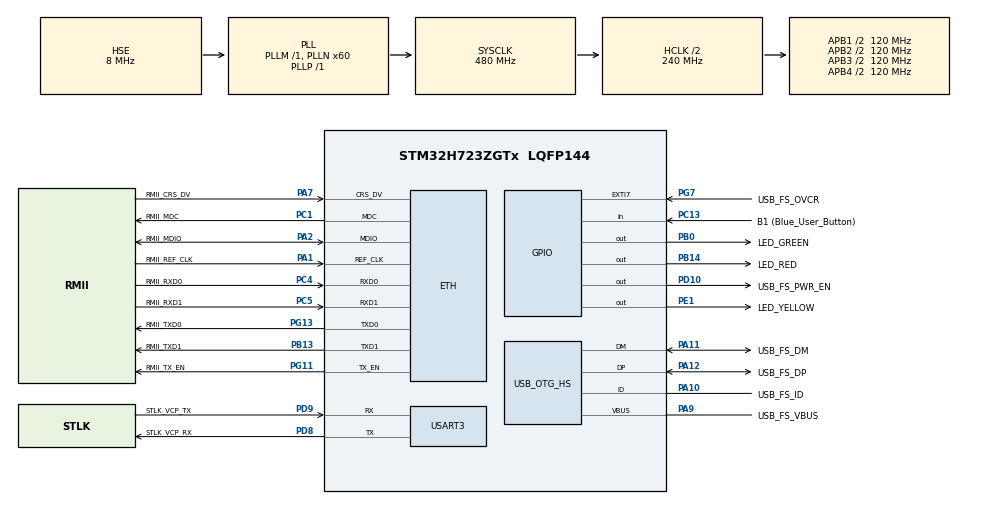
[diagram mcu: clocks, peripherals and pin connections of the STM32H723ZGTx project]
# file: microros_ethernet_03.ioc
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CORTEX_M7.AccessPermission_S-Cortex_Memory_Protection_Unit_Region1_Settings_S=MPU_REGION_FULL_ACCESS
CORTEX_M7.AccessPermission_S-Cortex_Memory_Protection_Unit_Region2_Settings_S=MPU_REGION_FULL_ACCESS
CORTEX_M7.BaseAddress_S-Cortex_Memory_Protection_Unit_Region1_Settings_S=0x30000000
CORTEX_M7.BaseAddress_S-Cortex_Memory_Protection_Unit_Region2_Settings_S=0x30000000
CORTEX_M7.CPU_DCache=Enabled
CORTEX_M7.CPU_ICache=Enabled
CORTEX_M7.DisableExec_S-Cortex_Memory_Protection_Unit_Region1_Settings_S=MPU_INSTRUCTION_ACCESS_DISABLE
CORTEX_M7.DisableExec_S-Cortex_Memory_Protection_Unit_Region2_Settings_S=MPU_INSTRUCTION_ACCESS_DISABLE
CORTEX_M7.Enable_S-Cortex_Memory_Protection_Unit_Region1_Settings_S=MPU_REGION_ENABLE
CORTEX_M7.Enable_S-Cortex_Memory_Protection_Unit_Region2_Settings_S=MPU_REGION_ENABLE
CORTEX_M7.IsBufferable_S-Cortex_Memory_Protection_Unit_Region2_Settings_S=MPU_ACCESS_BUFFERABLE
CORTEX_M7.IsShareable_S-Cortex_Memory_Protection_Unit_Region2_Settings_S=MPU_ACCESS_SHAREABLE
CORTEX_M7.Size_S-Cortex_Memory_Protection_Unit_Region1_Settings_S=MPU_REGION_SIZE_32KB
CORTEX_M7.Size_S-Cortex_Memory_Protection_Unit_Region2_Settings_S=MPU_REGION_SIZE_512B
CORTEX_M7.TypeExtField_S-Cortex_Memory_Protection_Unit_Region1_Settings_S=MPU_TEX_LEVEL1
CORTEX_M7.default_mode_Activation=1
ETH.MediaInterface=HAL_ETH_RMII_MODE
ETH.RxBuffLen=1536
ETH.RxBufferAddress=0x30000200
ETH.TxDescAddress=0x30000100
FREERTOS.Tasks01=defaultTask,24,4000,StartDefaultTask,Default,NULL,Static,defaultTaskBuffer,defaultTaskControlBlock
FREERTOS.configCHECK_FOR_STACK_OVERFLOW=1
FREERTOS.configMINIMAL_STACK_SIZE=512
FREERTOS.configTOTAL_HEAP_SIZE=96*1024
FREERTOS.configUSE_NEWLIB_REENTRANT=1
LWIP.API_LIB_DEBUG=LWIP_DBG_ON
LWIP.API_MSG_DEBUG=LWIP_DBG_ON
LWIP.AUTOIP_DEBUG=LWIP_DBG_ON
LWIP.BSP.number=1
LWIP.DEFAULT_THREAD_STACKSIZE=2048
LWIP.DHCP6_DEBUG=LWIP_DBG_ON
LWIP.DHCP_DEBUG=LWIP_DBG_ON
LWIP.DNS_DEBUG=LWIP_DBG_ON
LWIP.ETHARP_DEBUG=LWIP_DBG_ON
LWIP.HTTPD_DEBUG=LWIP_DBG_ON
LWIP.HTTPD_DEBUG_TIMING=LWIP_DBG_ON
LWIP.ICMP_DEBUG=LWIP_DBG_ON
LWIP.IGMP_DEBUG=LWIP_DBG_ON
LWIP.INET_DEBUG=LWIP_DBG_ON
LWIP.IP6_DEBUG=LWIP_DBG_ON
LWIP.IP_ADDRESS=192.168.001.010
LWIP.IP_DEBUG=LWIP_DBG_ON
LWIP.IP_REASS_DEBUG=LWIP_DBG_ON
LWIP.LWIP_DHCP=0
LWIP.LWIP_RAM_HEAP_POINTER=0x30000200
LWIP.LWIP_SO_SNDTIMEO=1
LWIP.LWIP_TESTMODE=0
LWIP.MDNS_DEBUG=LWIP_DBG_ON
LWIP.MEMP_DEBUG=LWIP_DBG_ON
LWIP.MEMP_NUM_UDP_PCB=15
LWIP.MEM_DEBUG=LWIP_DBG_ON
LWIP.MEM_SIZE=32232
LWIP.NETIF_DEBUG=LWIP_DBG_ON
LWIP.NETMASK_ADDRESS=255.255.255.000
LWIP.PBUF_DEBUG=LWIP_DBG_ON
LWIP.PPP_DEBUG=LWIP_DBG_ON
LWIP.RAW_DEBUG=LWIP_DBG_ON
LWIP.SLIP_DEBUG=LWIP_DBG_ON
LWIP.SMTP_DEBUG=LWIP_DBG_ON
LWIP.SNMP_DEBUG=LWIP_DBG_ON
LWIP.SNMP_MIB_DEBUG=LWIP_DBG_ON
LWIP.SNTP_DEBUG=LWIP_DBG_ON
LWIP.SOCKETS_DEBUG=LWIP_DBG_ON
LWIP.SYS_DEBUG=LWIP_DBG_ON
LWIP.TCPIP_DEBUG=LWIP_DBG_ON
LWIP.TCPIP_THREAD_STACKSIZE=2048
LWIP.TCP_CWND_DEBUG=LWIP_DBG_ON
LWIP.TCP_DEBUG=LWIP_DBG_ON
LWIP.TCP_FR_DEBUG=LWIP_DBG_ON
LWIP.TCP_INPUT_DEBUG=LWIP_DBG_ON
LWIP.TCP_MSS=1460
LWIP.TCP_OUTPUT_DEBUG=LWIP_DBG_ON
LWIP.TCP_QLEN_DEBUG=LWIP_DBG_ON
LWIP.TCP_RST_DEBUG=LWIP_DBG_ON
LWIP.TCP_RTO_DEBUG=LWIP_DBG_ON
LWIP.TCP_SND_BUF=5840
LWIP.TCP_SND_QUEUELEN=16
LWIP.TCP_WND_DEBUG=LWIP_DBG_ON
LWIP.TFTP_DEBUG=LWIP_DBG_ON
LWIP.TIMERS_DEBUG=LWIP_DBG_ON
LWIP.UDP_DEBUG=LWIP_DBG_ON
LWIP.Version=v2.1.2_Cube
LWIP0.BSP.STBoard=false
LWIP0.BSP.api=BSP_COMPONENT_DRIVER
LWIP0.BSP.component=LAN8742
LWIP0.BSP.instance=LAN8742
LWIP0.BSP.name=Driver_PHY
LWIP0.BSP.semaphore=S_LAN8742
LWIP0.BSP.solution=LAN8742
Mcu.Family=STM32H7
Mcu.Name=STM32H723ZGTx
Mcu.Package=LQFP144
NVIC.ETH_IRQn=true\:5\:0\:false\:false\:true\:true\:true\:true\:true
NVIC.PriorityGroup=NVIC_PRIORITYGROUP_4
NVIC.TIM6_DAC_IRQn=true\:15\:0\:false\:false\:true\:false\:false\:true\:true
NVIC.TimeBase=TIM6_DAC_IRQn
NVIC.TimeBaseIP=TIM6
PA1.GPIO_Label=RMII_REF_CLK
PA1.GPIO_Speed=GPIO_SPEED_FREQ_VERY_HIGH
PA1.Mode=RMII
PA1.Signal=ETH_REF_CLK
PA10.GPIO_Label=USB_FS_ID
PA10.Mode=OTG/Dual-Role-Device-FS
PA10.Signal=USB_OTG_HS_ID
PA11.GPIO_Label=USB_FS_DM
PA11.Mode=OTG/Dual-Role-Device-FS
PA11.Signal=USB_OTG_HS_DM
PA12.GPIO_Label=USB_FS_DP
PA12.Mode=OTG/Dual-Role-Device-FS
PA12.Signal=USB_OTG_HS_DP
PA13(JTMS/SWDIO).GPIO_Label=SWDIO
PA13(JTMS/SWDIO).Mode=Trace_Asynchronous_SW
PA13(JTMS/SWDIO).Signal=DEBUG_JTMS-SWDIO
PA14(JTCK/SWCLK).GPIO_Label=SWCLK
PA14(JTCK/SWCLK).Mode=Trace_Asynchronous_SW
PA14(JTCK/SWCLK).Signal=DEBUG_JTCK-SWCLK
PA2.GPIO_Label=RMII_MDIO
PA2.GPIO_Speed=GPIO_SPEED_FREQ_VERY_HIGH
PA2.Mode=RMII
PA2.Signal=ETH_MDIO
PA7.GPIO_Label=RMII_CRS_DV
PA7.GPIO_Speed=GPIO_SPEED_FREQ_VERY_HIGH
PA7.Mode=RMII
PA7.Signal=ETH_CRS_DV
PA9.GPIO_Label=USB_FS_VBUS
PA9.Mode=Activate_VBUS_FS
PA9.Signal=USB_OTG_HS_VBUS
PB0.GPIO_Label=LED_GREEN
PB0.Signal=GPIO_Output
PB13.GPIO_Label=RMII_TXD1
PB13.GPIO_Speed=GPIO_SPEED_FREQ_VERY_HIGH
PB13.Mode=RMII
PB13.Signal=ETH_TXD1
PB14.GPIO_Label=LED_RED
PB14.Signal=GPIO_Output
PB3(JTDO/TRACESWO).GPIO_Label=SWO
PB3(JTDO/TRACESWO).Mode=Trace_Asynchronous_SW
PB3(JTDO/TRACESWO).Signal=DEBUG_JTDO-SWO
PC1.GPIO_Label=RMII_MDC
PC1.GPIO_Speed=GPIO_SPEED_FREQ_VERY_HIGH
PC1.Mode=RMII
PC1.Signal=ETH_MDC
PC13.GPIO_Label=B1 (Blue_User_Button)
PC13.Signal=GPIO_Input
PC14-OSC32_IN.Signal=RCC_OSC32_IN
PC15-OSC32_OUT.Signal=RCC_OSC32_OUT
PC4.GPIO_Label=RMII_RXD0
PC4.GPIO_Speed=GPIO_SPEED_FREQ_VERY_HIGH
PC4.Mode=RMII
PC4.Signal=ETH_RXD0
PC5.GPIO_Label=RMII_RXD1
PC5.GPIO_Speed=GPIO_SPEED_FREQ_VERY_HIGH
PC5.Mode=RMII
PC5.Signal=ETH_RXD1
PD10.GPIO_Label=USB_FS_PWR_EN
PD10.Signal=GPIO_Output
PD8.GPIO_Label=STLK_VCP_RX
PD8.Mode=Asynchronous
PD8.Signal=USART3_TX
PD9.GPIO_Label=STLK_VCP_TX
PD9.Mode=Asynchronous
PD9.Signal=USART3_RX
PE1.GPIO_Label=LED_YELLOW
PE1.Signal=GPIO_Output
PG11.GPIO_Label=RMII_TX_EN
PG11.GPIO_Speed=GPIO_SPEED_FREQ_VERY_HIGH
PG11.Mode=RMII
PG11.Signal=ETH_TX_EN
PG13.GPIO_Label=RMII_TXD0
PG13.GPIO_Speed=GPIO_SPEED_FREQ_VERY_HIGH
PG13.Mode=RMII
PG13.Signal=ETH_TXD0
PG7.GPIO_Label=USB_FS_OVCR
PG7.Signal=GPXTI7
PH0-OSC_IN.GPIO_Label=MCO
PH0-OSC_IN.Mode=HSE-External-Clock-Source
PH0-OSC_IN.Signal=RCC_OSC_IN
PH1-OSC_OUT.Signal=RCC_OSC_OUT
ProjectManager.HeapSize=0x200
ProjectManager.StackSize=0x400
ProjectManager.TargetToolchain=STM32CubeIDE
RCC.ADCFreq_Value=76000000
RCC.APB1Freq_Value=120000000
RCC.APB2Freq_Value=120000000
RCC.APB3Freq_Value=120000000
RCC.APB4Freq_Value=120000000
RCC.CortexFreq_Value=480000000
RCC.D1PPRE=RCC_APB3_DIV2
RCC.D2PPRE1=RCC_APB1_DIV2
RCC.D2PPRE2=RCC_APB2_DIV2
RCC.D3PPRE=RCC_APB4_DIV2
RCC.DIVM1=1
RCC.DIVM2=1
RCC.DIVN1=60
RCC.DIVN2=19
RCC.DIVP1=1
RCC.DIVQ1=4
RCC.HCLKFreq_Value=240000000
RCC.HPRE=RCC_HCLK_DIV2
RCC.HSE_VALUE=8000000
RCC.PLLFRACN=0
RCC.PLLSourceVirtual=RCC_PLLSOURCE_HSE
RCC.SYSCLKFreq_VALUE=480000000
RCC.SYSCLKSource=RCC_SYSCLKSOURCE_PLLCLK
RCC.USBCLockSelection=RCC_USBCLKSOURCE_HSI48
RCC.USBFreq_Value=48000000
USART3.VirtualMode-Asynchronous=VM_ASYNC
VP_FREERTOS_VS_CMSIS_V2.Mode=CMSIS_V2
VP_LWIP_VS_Enabled.Mode=Enabled
VP_MEMORYMAP_VS_MEMORYMAP.Mode=CurAppReg
VP_SYS_VS_tim6.Mode=TIM6
board=NUCLEO-H723ZG

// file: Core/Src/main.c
/* USER CODE BEGIN Header */
/**
 ******************************************************************************
 * @file           : main.c
 * @brief          : Main program body
 ******************************************************************************
 * @attention
 *
 * Copyright (c) 2025 STMicroelectronics.
 * All rights reserved.
 *
 * This software is licensed under terms that can be found in the LICENSE file
 * in the root directory of this software component.
 * If no LICENSE file comes with this software, it is provided AS-IS.
 *
 ******************************************************************************
 */
/* USER CODE END Header */
#include "main.h"
#include "cmsis_os.h"
#include "lwip.h"

/* USER CODE BEGIN Includes */
#include <stdio.h>
#include "lwip/udp.h"
#include "lwip/ip_addr.h"
#include "string.h"

#include <rcl/rcl.h>
#include <rcl/error_handling.h>
#include <rclc/rclc.h>
#include <rclc/executor.h>
#include <uxr/client/transport.h>
#include <rmw_microxrcedds_c/config.h>
#include <rmw_microros/rmw_microros.h>

#include <std_msgs/msg/int32.h>
/* USER CODE END Includes */

typedef StaticTask_t osStaticThreadDef_t;

UART_HandleTypeDef huart3;

/* Definitions for defaultTask */
osThreadId_t defaultTaskHandle;
uint32_t defaultTaskBuffer[ 4000 ];
osStaticThreadDef_t defaultTaskControlBlock;
const osThreadAttr_t defaultTask_attributes = {
  .name = "defaultTask",
  .cb_mem = &defaultTaskControlBlock,
  .cb_size = sizeof(defaultTaskControlBlock),
  .stack_mem = &defaultTaskBuffer[0],
  .stack_size = sizeof(defaultTaskBuffer),
  .priority = (osPriority_t) osPriorityNormal,
};
/* USER CODE BEGIN PV */
struct udp_pcb *udp_client_pcb;
/* USER CODE END PV */

void SystemClock_Config(void);
static void MPU_Config(void);
static void MX_GPIO_Init(void);
static void MX_USART3_UART_Init(void);
static void MX_USB_OTG_HS_USB_Init(void);
void StartDefaultTask(void *argument);

/* USER CODE BEGIN PFP */
// SERIAL WIRE VIEWER for PRINTF()
int __io_putchar(int ch) {
	ITM_SendChar(ch);
	return ch;
}

void udp_send_message(const char *message);
void udp_client_init(void);

// MICROROS Functions
void microros_error_handler(rcl_ret_t ret_code);
bool cubemx_transport_open(struct uxrCustomTransport *transport);
bool cubemx_transport_close(struct uxrCustomTransport *transport);
size_t cubemx_transport_write(struct uxrCustomTransport *transport,
		const uint8_t *buf, size_t len, uint8_t *err);
size_t cubemx_transport_read(struct uxrCustomTransport *transport, uint8_t *buf,
		size_t len, int timeout, uint8_t *err);

void* microros_allocate(size_t size, void *state);
void microros_deallocate(void *pointer, void *state);
void* microros_reallocate(void *pointer, size_t size, void *state);
void* microros_zero_allocate(size_t number_of_elements, size_t size_of_element,
		void *state);
/* USER CODE END PFP */

int main(void)
{

  /* MPU Configuration--------------------------------------------------------*/
  MPU_Config();

  /* Enable the CPU Cache */

  /* Enable I-Cache---------------------------------------------------------*/
  SCB_EnableICache();

  /* Enable D-Cache---------------------------------------------------------*/
  SCB_EnableDCache();

  /* MCU Configuration--------------------------------------------------------*/

  /* Reset of all peripherals, Initializes the Flash interface and the Systick. */
  HAL_Init();

  /* Configure the system clock */
  SystemClock_Config();

  /* Initialize all configured peripherals */
  MX_GPIO_Init();
  MX_USART3_UART_Init();
  MX_USB_OTG_HS_USB_Init();

  /* Init scheduler */
  osKernelInitialize();

  /* Create the thread(s) */
  /* creation of defaultTask */
  defaultTaskHandle = osThreadNew(StartDefaultTask, NULL, &defaultTask_attributes);

  /* Start scheduler */
  osKernelStart();

  /* We should never get here as control is now taken by the scheduler */

  /* Infinite loop */
	while (1) {

	}
}

void SystemClock_Config(void)
{
  RCC_OscInitTypeDef RCC_OscInitStruct = {0};
  RCC_ClkInitTypeDef RCC_ClkInitStruct = {0};

  /** Supply configuration update enable
  */
  HAL_PWREx_ConfigSupply(PWR_LDO_SUPPLY);

  /** Configure the main internal regulator output voltage
  */
  __HAL_PWR_VOLTAGESCALING_CONFIG(PWR_REGULATOR_VOLTAGE_SCALE0);

  while(!__HAL_PWR_GET_FLAG(PWR_FLAG_VOSRDY)) {}

  /** Initializes the RCC Oscillators according to the specified parameters
  * in the RCC_OscInitTypeDef structure.
  */
  RCC_OscInitStruct.OscillatorType = RCC_OSCILLATORTYPE_HSI48|RCC_OSCILLATORTYPE_HSE;
  RCC_OscInitStruct.HSEState = RCC_HSE_BYPASS;
  RCC_OscInitStruct.HSI48State = RCC_HSI48_ON;
  RCC_OscInitStruct.PLL.PLLState = RCC_PLL_ON;
  RCC_OscInitStruct.PLL.PLLSource = RCC_PLLSOURCE_HSE;
  RCC_OscInitStruct.PLL.PLLM = 1;
  RCC_OscInitStruct.PLL.PLLN = 60;
  RCC_OscInitStruct.PLL.PLLP = 1;
  RCC_OscInitStruct.PLL.PLLQ = 4;
  RCC_OscInitStruct.PLL.PLLR = 2;
  RCC_OscInitStruct.PLL.PLLRGE = RCC_PLL1VCIRANGE_3;
  RCC_OscInitStruct.PLL.PLLVCOSEL = RCC_PLL1VCOWIDE;
  RCC_OscInitStruct.PLL.PLLFRACN = 0;
  if (HAL_RCC_OscConfig(&RCC_OscInitStruct) != HAL_OK)
  {
    Error_Handler();
  }

  /** Initializes the CPU, AHB and APB buses clocks
  */
  RCC_ClkInitStruct.ClockType = RCC_CLOCKTYPE_HCLK|RCC_CLOCKTYPE_SYSCLK
                              |RCC_CLOCKTYPE_PCLK1|RCC_CLOCKTYPE_PCLK2
                              |RCC_CLOCKTYPE_D3PCLK1|RCC_CLOCKTYPE_D1PCLK1;
  RCC_ClkInitStruct.SYSCLKSource = RCC_SYSCLKSOURCE_PLLCLK;
  RCC_ClkInitStruct.SYSCLKDivider = RCC_SYSCLK_DIV1;
  RCC_ClkInitStruct.AHBCLKDivider = RCC_HCLK_DIV2;
  RCC_ClkInitStruct.APB3CLKDivider = RCC_APB3_DIV2;
  RCC_ClkInitStruct.APB1CLKDivider = RCC_APB1_DIV2;
  RCC_ClkInitStruct.APB2CLKDivider = RCC_APB2_DIV2;
  RCC_ClkInitStruct.APB4CLKDivider = RCC_APB4_DIV2;

  if (HAL_RCC_ClockConfig(&RCC_ClkInitStruct, FLASH_LATENCY_3) != HAL_OK)
  {
    Error_Handler();
  }
}

static void MX_USART3_UART_Init(void)
{

  huart3.Instance = USART3;
  huart3.Init.BaudRate = 115200;
  huart3.Init.WordLength = UART_WORDLENGTH_8B;
  huart3.Init.StopBits = UART_STOPBITS_1;
  huart3.Init.Parity = UART_PARITY_NONE;
  huart3.Init.Mode = UART_MODE_TX_RX;
  huart3.Init.HwFlowCtl = UART_HWCONTROL_NONE;
  huart3.Init.OverSampling = UART_OVERSAMPLING_16;
  huart3.Init.OneBitSampling = UART_ONE_BIT_SAMPLE_DISABLE;
  huart3.Init.ClockPrescaler = UART_PRESCALER_DIV1;
  huart3.AdvancedInit.AdvFeatureInit = UART_ADVFEATURE_NO_INIT;
  if (HAL_UART_Init(&huart3) != HAL_OK)
  {
    Error_Handler();
  }
  if (HAL_UARTEx_SetTxFifoThreshold(&huart3, UART_TXFIFO_THRESHOLD_1_8) != HAL_OK)
  {
    Error_Handler();
  }
  if (HAL_UARTEx_SetRxFifoThreshold(&huart3, UART_RXFIFO_THRESHOLD_1_8) != HAL_OK)
  {
    Error_Handler();
  }
  if (HAL_UARTEx_DisableFifoMode(&huart3) != HAL_OK)
  {
    Error_Handler();
  }

}

static void MX_USB_OTG_HS_USB_Init(void)
{

}

static void MX_GPIO_Init(void)
{
  GPIO_InitTypeDef GPIO_InitStruct = {0};

  /* GPIO Ports Clock Enable */
  __HAL_RCC_GPIOC_CLK_ENABLE();
  __HAL_RCC_GPIOH_CLK_ENABLE();
  __HAL_RCC_GPIOA_CLK_ENABLE();
  __HAL_RCC_GPIOB_CLK_ENABLE();
  __HAL_RCC_GPIOD_CLK_ENABLE();
  __HAL_RCC_GPIOG_CLK_ENABLE();
  __HAL_RCC_GPIOE_CLK_ENABLE();

  /*Configure GPIO pin Output Level */
  HAL_GPIO_WritePin(GPIOB, LED_GREEN_Pin|LED_RED_Pin, GPIO_PIN_RESET);

  /*Configure GPIO pin Output Level */
  HAL_GPIO_WritePin(USB_FS_PWR_EN_GPIO_Port, USB_FS_PWR_EN_Pin, GPIO_PIN_RESET);

  /*Configure GPIO pin Output Level */
  HAL_GPIO_WritePin(LED_YELLOW_GPIO_Port, LED_YELLOW_Pin, GPIO_PIN_RESET);

  /*Configure GPIO pin : B1_Pin */
  GPIO_InitStruct.Pin = B1_Pin;
  GPIO_InitStruct.Mode = GPIO_MODE_INPUT;
  GPIO_InitStruct.Pull = GPIO_NOPULL;
  HAL_GPIO_Init(B1_GPIO_Port, &GPIO_InitStruct);

  /*Configure GPIO pins : LED_GREEN_Pin LED_RED_Pin */
  GPIO_InitStruct.Pin = LED_GREEN_Pin|LED_RED_Pin;
  GPIO_InitStruct.Mode = GPIO_MODE_OUTPUT_PP;
  GPIO_InitStruct.Pull = GPIO_NOPULL;
  GPIO_InitStruct.Speed = GPIO_SPEED_FREQ_LOW;
  HAL_GPIO_Init(GPIOB, &GPIO_InitStruct);

  /*Configure GPIO pin : USB_FS_PWR_EN_Pin */
  GPIO_InitStruct.Pin = USB_FS_PWR_EN_Pin;
  GPIO_InitStruct.Mode = GPIO_MODE_OUTPUT_PP;
  GPIO_InitStruct.Pull = GPIO_NOPULL;
  GPIO_InitStruct.Speed = GPIO_SPEED_FREQ_LOW;
  HAL_GPIO_Init(USB_FS_PWR_EN_GPIO_Port, &GPIO_InitStruct);

  /*Configure GPIO pin : USB_FS_OVCR_Pin */
  GPIO_InitStruct.Pin = USB_FS_OVCR_Pin;
  GPIO_InitStruct.Mode = GPIO_MODE_IT_RISING;
  GPIO_InitStruct.Pull = GPIO_NOPULL;
  HAL_GPIO_Init(USB_FS_OVCR_GPIO_Port, &GPIO_InitStruct);

  /*Configure GPIO pin : USB_FS_VBUS_Pin */
  GPIO_InitStruct.Pin = USB_FS_VBUS_Pin;
  GPIO_InitStruct.Mode = GPIO_MODE_INPUT;
  GPIO_InitStruct.Pull = GPIO_NOPULL;
  HAL_GPIO_Init(USB_FS_VBUS_GPIO_Port, &GPIO_InitStruct);

  /*Configure GPIO pin : USB_FS_ID_Pin */
  GPIO_InitStruct.Pin = USB_FS_ID_Pin;
  GPIO_InitStruct.Mode = GPIO_MODE_AF_PP;
  GPIO_InitStruct.Pull = GPIO_NOPULL;
  GPIO_InitStruct.Speed = GPIO_SPEED_FREQ_LOW;
  GPIO_InitStruct.Alternate = GPIO_AF10_OTG1_HS;
  HAL_GPIO_Init(USB_FS_ID_GPIO_Port, &GPIO_InitStruct);

  /*Configure GPIO pin : LED_YELLOW_Pin */
  GPIO_InitStruct.Pin = LED_YELLOW_Pin;
  GPIO_InitStruct.Mode = GPIO_MODE_OUTPUT_PP;
  GPIO_InitStruct.Pull = GPIO_NOPULL;
  GPIO_InitStruct.Speed = GPIO_SPEED_FREQ_LOW;
  HAL_GPIO_Init(LED_YELLOW_GPIO_Port, &GPIO_InitStruct);

}

/* USER CODE BEGIN 4 */
/**
 * @brief Sends a UDP message
 */
void udp_send_message(const char *message) {
	struct pbuf *p;
	ip_addr_t dest_ip;

	// Convert string IP to ip_addr_t
	ipaddr_aton(UDP_SERVER_IP, &dest_ip);

	// Allocate memory for the packet buffer
	p = pbuf_alloc(PBUF_TRANSPORT, strlen(message), PBUF_RAM);
	if (p != NULL) {
		// Copy data into the buffer
		memcpy(p->payload, message, strlen(message));

		// Send packet to UDP server
		udp_sendto(udp_client_pcb, p, &dest_ip, UDP_SERVER_PORT);

		// Free the buffer
		pbuf_free(p);
	}
}

/**
 * @brief Initialize UDP Client
 */
void udp_client_init(void) {
	printf("Initializing UDP client!\n");
	udp_client_pcb = udp_new();
	if (udp_client_pcb == NULL) {
		printf("[Error] Failed to Initialize UDP client!\n");
		return;
	}

	printf("[Info] Successfully initialized UDP client!\n");
}

void microros_error_handler(rcl_ret_t ret_code) {
	if (ret_code == RMW_RET_OK)
		return;

//	Show Fault
	HAL_GPIO_WritePin(FAULT_LED_PORT, FAULT_LED_PIN, GPIO_PIN_RESET);
	while (1) {
		// Toggle the LED
		HAL_GPIO_TogglePin(FAULT_LED_PORT, FAULT_LED_PIN);

		// Delay (simple loop for visibility, since HAL_Delay might be unreliable)
		for (volatile uint32_t i = 0; i < 10000000; i++)
			;
	}
}
/* USER CODE END 4 */

void StartDefaultTask(void *argument)
{
  /* init code for LWIP */
  MX_LWIP_Init();
  /* USER CODE BEGIN 5 */
//	udp_client_init();  // Initialize UDP Client
//	/* Infinite loop */
//	for (;;) {
//		udp_send_message("Hello from STM32!");
//		vTaskDelay(pdMS_TO_TICKS(1000));  // Send every 1 second
//	}

// micro-ROS configuration
  printf("Initializing transport\n");

	rmw_uros_set_custom_transport(
			false,  //Framing disable here. Udp should Use Packet-oriented mode.
			"192.168.1.1",    //your Agent's ip address
			cubemx_transport_open, cubemx_transport_close,
			cubemx_transport_write, cubemx_transport_read);

	printf("Initializing FreeRTOS Allocator\n");
	rcl_allocator_t freeRTOS_allocator =
			rcutils_get_zero_initialized_allocator();
	freeRTOS_allocator.allocate = microros_allocate;
	freeRTOS_allocator.deallocate = microros_deallocate;
	freeRTOS_allocator.reallocate = microros_reallocate;
	freeRTOS_allocator.zero_allocate = microros_zero_allocate;

	if (!rcutils_set_default_allocator(&freeRTOS_allocator)) {
		printf("Error on default allocators (line %d)\n", __LINE__);
		microros_error_handler(-1);
	}

	// micro-ROS app

	rcl_publisher_t publisher;
	std_msgs__msg__Int32 msg;
	rclc_support_t support;
	rcl_allocator_t allocator;
	rcl_node_t node;
	rcl_ret_t ret;

	printf("Initializing default allocator\n");
	allocator = rcl_get_default_allocator();

	//create init_options
	printf("Initializing Support\n");
	ret = rclc_support_init(&support, 0, NULL, &allocator);

	microros_error_handler(ret);

	// create node
	printf("Initializing Node\n");
	ret = rclc_node_init_default(&node, "cubemx_node", "", &support);

	microros_error_handler(ret);

	// create publisher
	printf("Initializing Publisher\n");
	ret = rclc_publisher_init_default(&publisher, &node,
			ROSIDL_GET_MSG_TYPE_SUPPORT(std_msgs, msg, Int32),
			"cubemx_publisher");

	microros_error_handler(ret);

	msg.data = 0;

	for (;;) {
		ret = rcl_publish(&publisher, &msg, NULL);

		microros_error_handler(ret);

		msg.data++;
		osDelay(10);
	}

  /* USER CODE END 5 */
}

 /* MPU Configuration */

void MPU_Config(void)
{
  MPU_Region_InitTypeDef MPU_InitStruct = {0};

  /* Disables the MPU */
  HAL_MPU_Disable();

  /** Initializes and configures the Region and the memory to be protected
  */
  MPU_InitStruct.Enable = MPU_REGION_ENABLE;
  MPU_InitStruct.Number = MPU_REGION_NUMBER0;
  MPU_InitStruct.BaseAddress = 0x0;
  MPU_InitStruct.Size = MPU_REGION_SIZE_4GB;
  MPU_InitStruct.SubRegionDisable = 0x87;
  MPU_InitStruct.TypeExtField = MPU_TEX_LEVEL0;
  MPU_InitStruct.AccessPermission = MPU_REGION_NO_ACCESS;
  MPU_InitStruct.DisableExec = MPU_INSTRUCTION_ACCESS_DISABLE;
  MPU_InitStruct.IsShareable = MPU_ACCESS_SHAREABLE;
  MPU_InitStruct.IsCacheable = MPU_ACCESS_NOT_CACHEABLE;
  MPU_InitStruct.IsBufferable = MPU_ACCESS_NOT_BUFFERABLE;

  HAL_MPU_ConfigRegion(&MPU_InitStruct);

  /** Initializes and configures the Region and the memory to be protected
  */
  MPU_InitStruct.Number = MPU_REGION_NUMBER1;
  MPU_InitStruct.BaseAddress = 0x30000000;
  MPU_InitStruct.Size = MPU_REGION_SIZE_32KB;
  MPU_InitStruct.SubRegionDisable = 0x0;
  MPU_InitStruct.TypeExtField = MPU_TEX_LEVEL1;
  MPU_InitStruct.AccessPermission = MPU_REGION_FULL_ACCESS;
  MPU_InitStruct.IsShareable = MPU_ACCESS_NOT_SHAREABLE;

  HAL_MPU_ConfigRegion(&MPU_InitStruct);

  /** Initializes and configures the Region and the memory to be protected
  */
  MPU_InitStruct.Number = MPU_REGION_NUMBER2;
  MPU_InitStruct.Size = MPU_REGION_SIZE_512B;
  MPU_InitStruct.TypeExtField = MPU_TEX_LEVEL0;
  MPU_InitStruct.IsShareable = MPU_ACCESS_SHAREABLE;
  MPU_InitStruct.IsBufferable = MPU_ACCESS_BUFFERABLE;

  HAL_MPU_ConfigRegion(&MPU_InitStruct);
  /* Enables the MPU */
  HAL_MPU_Enable(MPU_PRIVILEGED_DEFAULT);

}

void HAL_TIM_PeriodElapsedCallback(TIM_HandleTypeDef *htim)
{
  if (htim->Instance == TIM6) {
    HAL_IncTick();
  }
}

void Error_Handler(void)
{
  /* USER CODE BEGIN Error_Handler_Debug */
	/* User can add his own implementation to report the HAL error return state */
	__disable_irq();

	HAL_GPIO_WritePin(ERROR_LED_PORT, ERROR_LED_PIN, GPIO_PIN_SET);
	while (1) {

	}
  /* USER CODE END Error_Handler_Debug */
}

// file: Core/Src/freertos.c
/* USER CODE BEGIN Header */
/**
  ******************************************************************************
  * File Name          : freertos.c
  * Description        : Code for freertos applications
  ******************************************************************************
  * @attention
  *
  * Copyright (c) 2025 STMicroelectronics.
  * All rights reserved.
  *
  * This software is licensed under terms that can be found in the LICENSE file
  * in the root directory of this software component.
  * If no LICENSE file comes with this software, it is provided AS-IS.
  *
  ******************************************************************************
  */
/* USER CODE END Header */

#include "FreeRTOS.h"
#include "task.h"
#include "main.h"

/* Hook prototypes */
void vApplicationStackOverflowHook(xTaskHandle xTask, signed char *pcTaskName);

/* USER CODE BEGIN 4 */
void vApplicationStackOverflowHook(xTaskHandle xTask, signed char *pcTaskName) {
	/* Run time stack overflow checking is performed if
	 configCHECK_FOR_STACK_OVERFLOW is defined to 1 or 2. This hook function is
	 called if a stack overflow is detected. */
	// Configure the LED GPIO as output if not already configured
	HAL_GPIO_WritePin(FAULT_LED_PORT, FAULT_LED_PIN,
			GPIO_PIN_RESET);
	while (1) {
		// Toggle the LED
		HAL_GPIO_TogglePin(FAULT_LED_PORT, FAULT_LED_PIN);

		// Delay (simple loop for visibility, since HAL_Delay might be unreliable)
		for (volatile uint32_t i = 0; i < 50000000; i++)
			;
	}

}
/* USER CODE END 4 */
